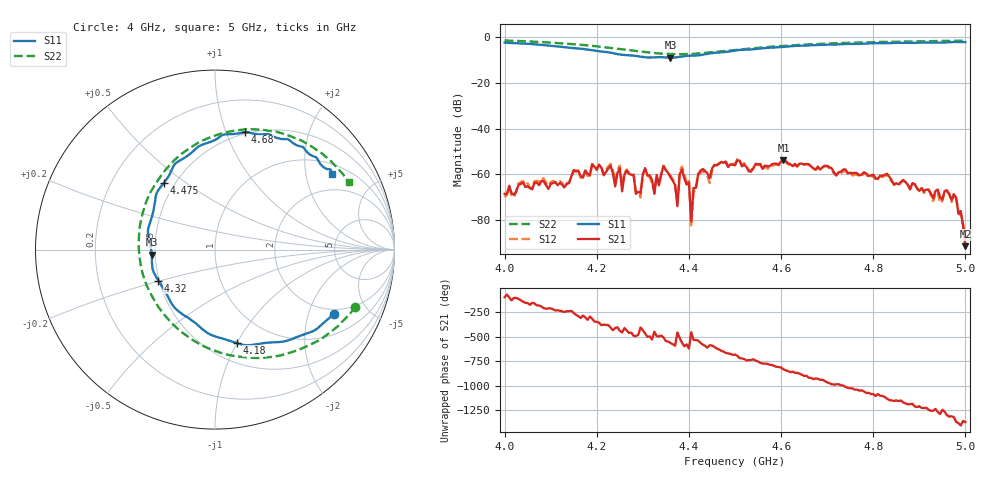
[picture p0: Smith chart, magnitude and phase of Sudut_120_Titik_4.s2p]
# Hz S RI R 50
! CMT, C1220, 16058040, 17.2.0/1
! Date: 15/08/2018 12:29:03
! Data: Format (Calibration Info)
! Freq  S11: Re/Im (F2)  S21: Re/Im (F2)  S12: Re/Im (F2)  S22: Re/Im (F2)
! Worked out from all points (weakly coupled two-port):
!   201 points, 4 GHz to 5 GHz, reference 50 ohm
!   highest |S21| = -53.77 dB at 4.605 GHz (marker M1); lowest = -91.4 dB at 5 GHz (marker M2)
!   lowest |S11| = -9.0 dB at 4.36 GHz (marker M3), VSWR 2.09, Z = 23.9 - j1.58 ohm
!   |S11| at or under -10 dB: nowhere
!   |S22| runs from -7.5 to -1.5 dB; largest |S21 - S12| = 0.00022
!   S11 on the Smith chart (normalised r, x): 4 GHz: 1.77, -2.97; 4.18 GHz: 0.69, -1.00; 4.32 GHz: 0.49, -0.20; 4.475 GHz: 0.44, +0.41; 4.68 GHz: 0.48, +1.16; 5 GHz: 1.32, +2.83
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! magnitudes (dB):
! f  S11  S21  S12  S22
! 4 GHz  -2.4  -68.5  -70.0  -1.5
! 4.17 GHz  -5.2  -61.2  -61.5  -3.4
! 4.18 GHz  -5.4  -59.6  -60.6  -3.6
! 4.295 GHz  -8.5  -68.3  -70.1  -6.3
! 4.32 GHz  -8.9  -62.5  -63.7  -6.9
! 4.335 GHz  -8.8  -64.6  -64.9  -7.1
! 4.345 GHz  -8.8  -56.3  -56.4  -7.3
! 4.36 GHz  -9.0  -61.2  -60.6  -7.4
! 4.375 GHz  -8.8  -73.9  -72.2  -7.5
! 4.38 GHz  -8.6  -59.9  -58.7  -7.5
! 4.4 GHz  -8.2  -63.6  -62.3  -7.4
! 4.405 GHz  -8.2  -80.4  -82.8  -7.4
! 4.41 GHz  -8.1  -66.0  -67.4  -7.3
! 4.42 GHz  -8.0  -60.0  -60.5  -7.2
! 4.475 GHz  -6.6  -55.0  -55.3  -6.2
! 4.5 GHz  -5.9  -56.1  -55.5  -5.7
! 4.605 GHz  -4.3  -53.8  -54.2  -3.8
! 4.67 GHz  -3.5  -57.4  -57.4  -3.1
! 4.68 GHz  -3.4  -56.6  -57.0  -3.0
! 4.835 GHz  -2.6  -61.1  -62.1  -2.1
! 4.975 GHz  -2.1  -68.7  -68.5  -1.6
! 5 GHz  -2.2  -91.4  -87.7  -1.6
